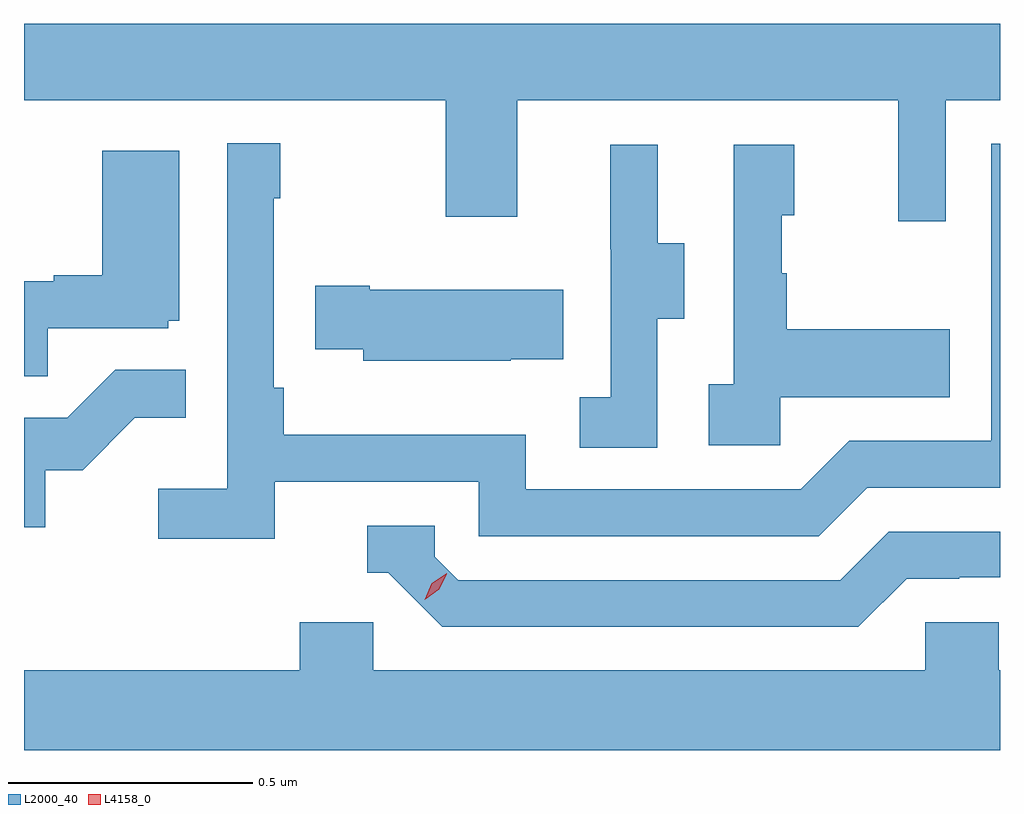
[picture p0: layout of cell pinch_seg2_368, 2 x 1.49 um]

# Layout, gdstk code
import gdstk
lib = gdstk.Library(unit=1e-6, precision=1e-09)
def P(c, l, *ps):  # polygons
    for p in ps: c.add(gdstk.Polygon(p, *l))
L2000_40 = (2000, 40)
L4158_0 = (4158, 0)

pinch_seg2_368 = lib.new_cell('pinch_seg2_368')
P(pinch_seg2_368, L2000_40, [(971.157,638.312),(971.268,638.312),(971.268,638.469),(969.268,638.469),(969.268,638.312),(970.132,638.312),(970.132,638.073),(970.279,638.073),(970.279,638.312),(971.06,638.312),(971.06,638.064),(971.157,638.064)],
  [(969.782,637.53),(970.2,637.53),(970.2,637.419),(970.897,637.419),(970.996,637.518),(971.268,637.518),(971.268,638.223),(971.25,638.223),(971.25,637.614),(970.959,637.614),(970.86,637.515),(970.296,637.515),(970.296,637.627),(969.8,637.627),(969.8,637.723),(969.78,637.723),(969.78,638.111),(969.793,638.111),(969.793,638.224),(969.684,638.224),(969.684,637.516),(969.543,637.516),(969.543,637.414),(969.782,637.414)],
  [(970.566,637.864),(970.621,637.864),(970.621,638.019),(970.567,638.019),(970.567,638.221),(970.469,638.221),(970.469,638.007),(970.47,638.007),(970.47,637.703),(970.407,637.703),(970.407,637.6),(970.566,637.6)],
  [(970.818,637.703),(971.165,637.703),(971.165,637.843),(970.831,637.843),(970.831,637.958),(970.821,637.958),(970.821,638.076),(970.846,638.076),(970.846,638.221),(970.722,638.221),(970.722,637.73),(970.671,637.73),(970.671,637.605),(970.818,637.605)],
  [(969.317,637.845),(969.564,637.845),(969.564,637.86),(969.586,637.86),(969.586,638.209),(969.428,638.209),(969.428,637.954),(969.329,637.954),(969.329,637.941),(969.268,637.941),(969.268,637.747),(969.317,637.747)],
  [(970.265,637.781),(970.373,637.781),(970.373,637.924),(969.976,637.924),(969.976,637.932),(969.865,637.932),(969.865,637.802),(969.963,637.802),(969.963,637.778),(970.265,637.778)],
  [(969.312,637.554),(969.388,637.554),(969.495,637.661),(969.599,637.661),(969.599,637.76),(969.455,637.76),(969.357,637.662),(969.268,637.662),(969.268,637.437),(969.312,637.437)],
  [(971.077,637.332),(971.184,637.332),(971.184,637.335),(971.268,637.335),(971.268,637.428),(971.04,637.428),(970.941,637.329),(970.158,637.329),(970.11,637.377),(970.11,637.44),(969.971,637.44),(969.971,637.344),(970.014,637.344),(970.125,637.233),(970.978,637.233)],
  [(971.268,637.144),(971.265,637.144),(971.265,637.242),(971.115,637.242),(971.115,637.144),(969.984,637.144),(969.984,637.242),(969.833,637.242),(969.833,637.144),(969.268,637.144),(969.268,636.98),(971.268,636.98)])
P(pinch_seg2_368, L4158_0, [(970.089,637.289),(970.089,637.289),(970.104,637.322),(970.134,637.343),(970.134,637.343),(970.134,637.342),(970.119,637.31),(970.089,637.289)])

lib.write_gds('pinch_seg2_368.gds')
